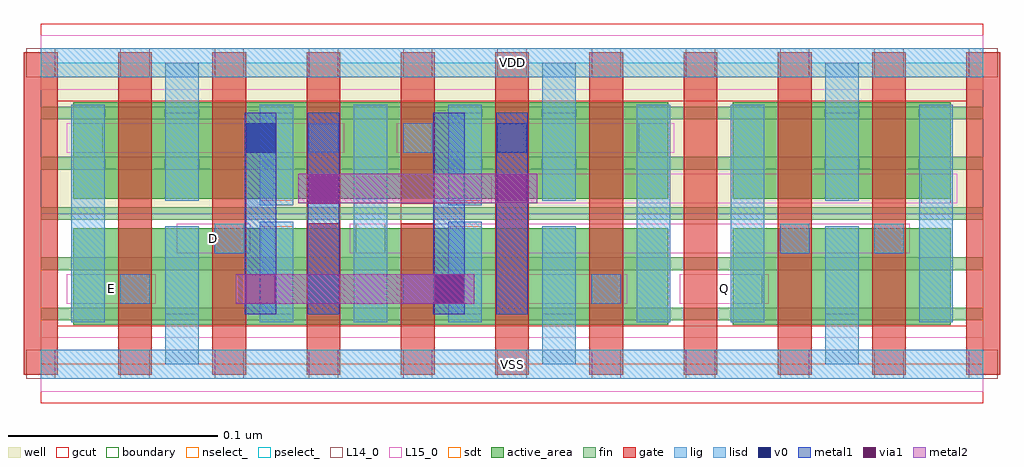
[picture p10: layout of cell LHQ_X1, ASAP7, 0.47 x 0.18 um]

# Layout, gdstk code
import gdstk
lib = gdstk.Library(unit=1e-6, precision=2.5e-10)
def R(c, l, rs):  # rectangles x0, y0, x1, y1
    for r in rs: c.add(gdstk.rectangle(r[:2], r[2:], *l))
def A(c, l, x, y, w, h, nx, ny, dx, dy):  # array of equal rectangles
    R(c, l, [(x+i*dx, y+j*dy, x+i*dx+w, y+j*dy+h) for i in range(nx) for j in range(ny)])
well = (1, 0)
fin = (2, 0)
gate = (7, 0)
gcut = (10, 0)
active_area = (11, 0)
nselect_ = (12, 0)
pselect_ = (13, 0)
L14_0 = (14, 0)
L15_0 = (15, 0)
lig = (16, 0)
lisd = (17, 0)
v0 = (18, 0)
metal1 = (19, 0)
metal2 = (20, 0)
via1 = (21, 0)
sdt = (88, 0)
boundary = (100, 0)

lhq_x1 = lib.new_cell('LHQ_X1')
R(lhq_x1, well, [(0,0.072,0.45,0.144)])
A(lhq_x1, fin, 0, 0.021, 0.45, 0.006, 1, 5, 0, 0.024)
A(lhq_x1, gate, -0.008, -0.005, 0.016, 0.154, 3, 1, 0.045, 0)
A(lhq_x1, gate, 0.217, -0.005, 0.016, 0.154, 6, 1, 0.045, 0)
R(lhq_x1, gate, [(0.127,-0.005,0.143,0.067), (0.172,-0.005,0.188,0.067), (0.127,0.077,0.143,0.149), (0.172,0.077,0.188,0.149)])
R(lhq_x1, gcut, [(0,-0.0185,0.45,0.0185), (-0.008,-0.005,0.008,0.149), (0.442,-0.005,0.458,0.149), (0.127,0.067,0.143,0.077), (0.172,0.067,0.188,0.077), (0,0.1255,0.45,0.1625)])
A(lhq_x1, active_area, 0.0155, 0.019, 0.059, 0.046, 6, 2, 0.045, 0.06)
R(lhq_x1, active_area, [(0.3305,0.019,0.3895,0.065), (0.3755,0.019,0.4345,0.065), (0.3305,0.079,0.3895,0.125), (0.3755,0.079,0.4345,0.125)])
R(lhq_x1, nselect_, [(0,0,0.45,0.072)])
R(lhq_x1, pselect_, [(0,0.072,0.45,0.144)])
A(lhq_x1, L14_0, -0.007, -0.007, 0.014, 0.014, 11, 2, 0.045, 0.144)
R(lhq_x1, L14_0, [(0.038,0.029,0.052,0.043), (0.128,0.029,0.142,0.043), (0.173,0.029,0.187,0.043), (0.263,0.029,0.277,0.043), (0.3305,0.029,0.3445,0.043), (0.083,0.053,0.097,0.067), (0.1505,0.053,0.1645,0.067), (0.353,0.053,0.367,0.067), (0.398,0.053,0.412,0.067), (0.218,0.077,0.232,0.091), (0.4205,0.077,0.4345,0.091), (0.0155,0.101,0.0295,0.115), (0.128,0.101,0.142,0.115), (0.173,0.101,0.187,0.115), (0.2855,0.101,0.2995,0.115)])
R(lhq_x1, L15_0, [(0,-0.013,0.45,0.013), (0.0125,0.029,0.055,0.043), (0.1025,0.029,0.145,0.043), (0.17,0.029,0.28,0.043), (0.305,0.029,0.3475,0.043), (0.065,0.053,0.1,0.067), (0.1475,0.053,0.415,0.067), (0.215,0.077,0.4375,0.091), (0.0125,0.101,0.145,0.115), (0.17,0.101,0.3025,0.115), (0,0.131,0.45,0.157)])
R(lhq_x1, lig, [(0,-0.007,0.45,0.007), (0.038,0.029,0.052,0.043), (0.128,0.029,0.142,0.043), (0.173,0.029,0.187,0.043), (0.263,0.029,0.277,0.043), (0.083,0.053,0.097,0.067), (0.353,0.053,0.367,0.067), (0.398,0.053,0.412,0.067), (0.218,0.077,0.232,0.091), (0.128,0.101,0.142,0.115), (0.173,0.101,0.187,0.115), (0,0.137,0.45,0.151)])
R(lhq_x1, lisd, [(0.0595,0,0.0755,0.066), (0.0595,0,0.0755,0.066), (0.2395,0,0.2555,0.066), (0.2395,0,0.2555,0.066), (0.3745,0,0.3905,0.066), (0.3745,0,0.3905,0.066), (0.0145,0.02,0.0305,0.124), (0.1045,0.02,0.1205,0.068), (0.1045,0.02,0.1205,0.068), (0.1495,0.02,0.1655,0.124), (0.1495,0.02,0.1655,0.124), (0.1945,0.02,0.2105,0.068), (0.1945,0.02,0.2105,0.068), (0.2845,0.02,0.3005,0.124), (0.3295,0.02,0.3455,0.124), (0.4195,0.02,0.4355,0.124), (0.1045,0.076,0.1205,0.124), (0.1045,0.076,0.1205,0.124), (0.1945,0.076,0.2105,0.124), (0.1945,0.076,0.2105,0.124), (0.0595,0.078,0.0755,0.144), (0.0595,0.078,0.0755,0.144), (0.2395,0.078,0.2555,0.144), (0.2395,0.078,0.2555,0.144), (0.3745,0.078,0.3905,0.144), (0.3745,0.078,0.3905,0.144)])
R(lhq_x1, v0, [(0.128,0.029,0.142,0.043), (0.188,0.029,0.202,0.043), (0.098,0.101,0.112,0.115), (0.218,0.101,0.232,0.115)])
R(lhq_x1, metal1, [(0.0975,0.024,0.1125,0.12), (0.1275,0.024,0.1425,0.12), (0.1875,0.024,0.2025,0.12), (0.2175,0.024,0.2325,0.12)])
R(lhq_x1, metal2, [(0.093,0.029,0.207,0.043), (0.123,0.077,0.237,0.091)])
R(lhq_x1, via1, [(0.098,0.029,0.112,0.043), (0.188,0.029,0.202,0.043), (0.128,0.077,0.142,0.091), (0.218,0.077,0.232,0.091)])
R(lhq_x1, sdt, [(0.0145,0.02,0.0305,0.124), (0.1495,0.02,0.1655,0.124), (0.1495,0.02,0.1655,0.124), (0.2845,0.02,0.3005,0.124), (0.3295,0.02,0.3455,0.124), (0.4195,0.02,0.4355,0.124), (0.0595,0.024,0.0755,0.066), (0.0595,0.024,0.0755,0.066), (0.1045,0.024,0.1205,0.066), (0.1045,0.024,0.1205,0.066), (0.1945,0.024,0.2105,0.066), (0.1945,0.024,0.2105,0.066), (0.2395,0.024,0.2555,0.066), (0.2395,0.024,0.2555,0.066), (0.3745,0.024,0.3905,0.066), (0.3745,0.024,0.3905,0.066), (0.0595,0.078,0.0755,0.12), (0.0595,0.078,0.0755,0.12), (0.1045,0.078,0.1205,0.12), (0.1045,0.078,0.1205,0.12), (0.1945,0.078,0.2105,0.12), (0.1945,0.078,0.2105,0.12), (0.2395,0.078,0.2555,0.12), (0.2395,0.078,0.2555,0.12), (0.3745,0.078,0.3905,0.12), (0.3745,0.078,0.3905,0.12)])
R(lhq_x1, boundary, [(0,0,0.45,0.144)])
lhq_x1.add(gdstk.Label('VDD', (0.225,0.144), layer=1, texttype=251))
lhq_x1.add(gdstk.Label('VSS', (0.225,0), layer=3, texttype=251))
lhq_x1.add(gdstk.Label('E', (0.0338,0.036), layer=15, texttype=251))
lhq_x1.add(gdstk.Label('D', (0.0825,0.06), layer=15, texttype=251))
lhq_x1.add(gdstk.Label('Q', (0.3262,0.036), layer=15, texttype=251))
lhq_x1.add(gdstk.Label('VSS', (0.225,0), layer=15, texttype=251))
lhq_x1.add(gdstk.Label('VDD', (0.225,0.144), layer=15, texttype=251))

lib.write_gds('LHQ_X1.gds')
